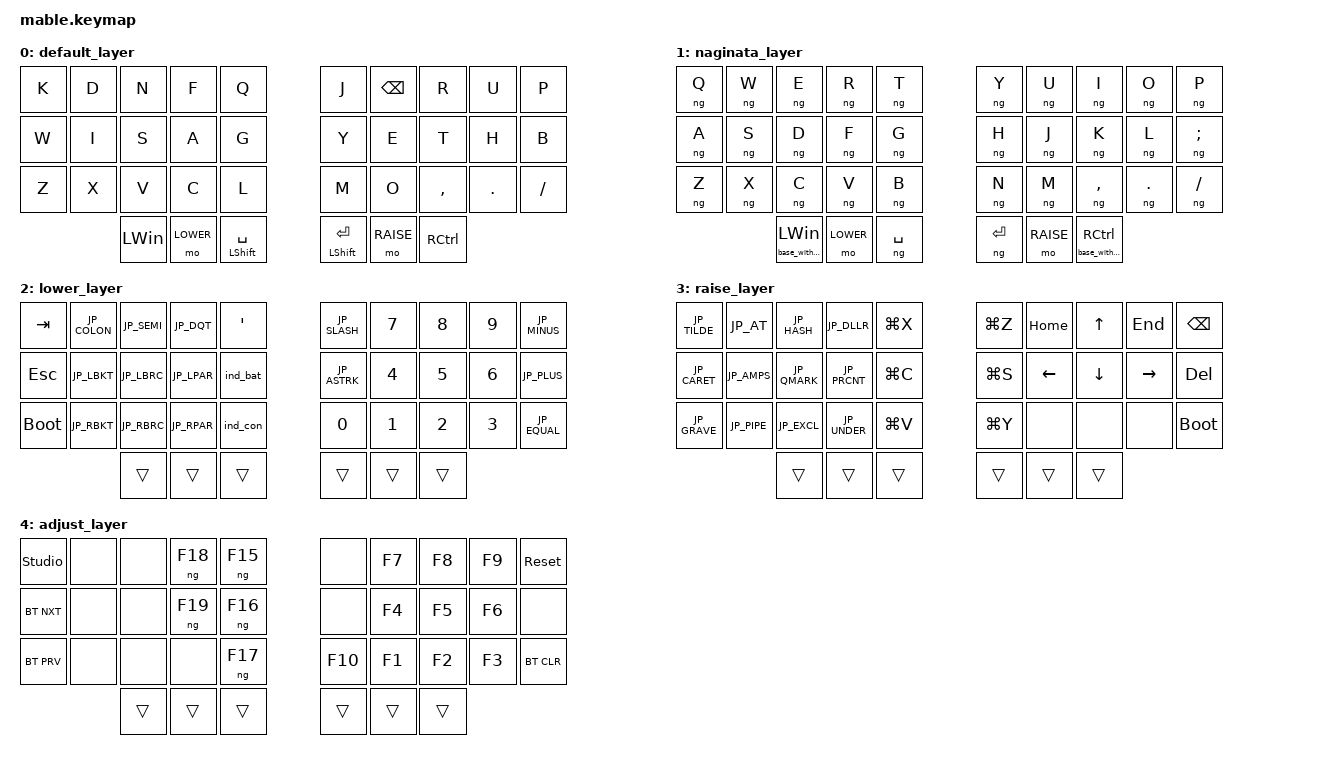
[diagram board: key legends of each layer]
#include <behaviors/rgbled_widget.dtsi>
#include <behaviors/naginata.dtsi>

#define HOST_OS 2
#include "zmk-helpers/helper.h"

#define ZMK_BEHAVIORS_OMIT_KT

#undef ZMK_BEHAVIORS_KEEP_ALL

#define ZMK_BEHAVIORS_KEEP_SK
#define ZMK_BEHAVIORS_KEEP_MT
#define ZMK_BEHAVIORS_KEEP_KT

#include <behaviors.dtsi>
#include <dt-bindings/zmk/keys.h>
#include <dt-bindings/zmk/bt.h>
#include <dt-bindings/zmk/outputs.h>
#include "keycode_japanese.h"

#define CONFIG_ZMK_MACRO_DEFAULT_WAIT_MS 40
#define CONFIG_ZMK_MACRO_DEFAULT_TAP_MS 40

#define DEFAULT  0
#define NAGINATA 1
#define LOWER    2
#define RAISE    3
#define ADJUST   4

/ {

    conditional_layers {
        compatible = "zmk,conditional-layers";
        tri_layer {
            if-layers = <2 3>;
            then-layer = <4>;
        };
    };

    macros {
        ng_on: ng_on {
            compatible = "zmk,behavior-macro";
            #binding-cells = <0>;
            bindings
                = <&macro_tap &kp LANGUAGE_1 &kp INTERNATIONAL_4 &to 1>
                ;
        };
        ng_off: ng_off {
            compatible = "zmk,behavior-macro";
            #binding-cells = <0>;
            bindings
                = <&macro_tap &kp LANGUAGE_2 &kp INTERNATIONAL_5 &to 0>
                ;
        };
        base_with_mod: base_with_mod {
            compatible = "zmk,behavior-macro-one-param";
            wait-ms = <0>;
            tap-ms = <0>;
            #binding-cells = <1>;
            bindings
                = <&macro_press &tog 1 >
                , <&macro_param_1to1>
                , <&macro_press &kp MACRO_PLACEHOLDER>
                , <&macro_pause_for_release>
                , <&macro_param_1to1>
                , <&macro_release &kp MACRO_PLACEHOLDER>
                , <&macro_press &tog 1 >
                ;
        };
    };

    combos {
        compatible = "zmk,combos";
        combo_ng_on {
            timeout-ms = <300>;
            key-positions = <15 16>;
            bindings = <&ng_on>;
            layers = <0>;
        };
        combo_ng_off {
            timeout-ms = <300>;
            key-positions = <13 14>;
            bindings = <&ng_off>;
            layers = <0 1>;
        };
    };

    keymap {
        compatible = "zmk,keymap";

        default_layer {
            bindings = <
            // +----------+----------+----------+----------+----------+----------+----------+----------+----------+----------
                &kp K      &kp D      &kp N      &kp F      &kp Q      &kp J      &kp BSPC   &kp R      &kp U      &kp P
                &kp W      &kp I      &kp S      &kp A      &kp G      &kp Y      &kp E      &kp T      &kp H      &kp B
                &kp Z      &kp X      &kp V      &kp C      &kp L      &kp M      &kp O      &kp COMMA  &kp DOT    &kp SLASH
            //  &kp Q      &kp W      &kp E      &kp R      &kp T      &kp Y      &kp U      &kp I      &kp O      &kp P
            //  &kp A      &kp S      &kp D      &kp F      &kp G      &kp H      &kp J      &kp K      &kp L      &kp SEMI
            //  &kp Z      &kp X      &kp C      &kp V      &kp B      &kp N      &kp M      &kp COMMA  &kp DOT    &kp SLASH
                                &kp LWIN   &mo LOWER  &mt LSHFT SPACE  &mt LSHFT ENTER &mo RAISE  &kp RCTRL
                >;
        };

        naginata_layer {
            bindings = <
            // +----------+----------+----------+----------+----------+----------+----------+----------+----------+----------
                &ng Q      &ng W      &ng E      &ng R      &ng T      &ng Y      &ng U      &ng I      &ng O      &ng P
                &ng A      &ng S      &ng D      &ng F      &ng G      &ng H      &ng J      &ng K      &ng L      &ng SEMI
                &ng Z      &ng X      &ng C      &ng V      &ng B      &ng N      &ng M      &ng COMMA  &ng DOT    &ng SLASH
                           &base_with_mod LWIN   &mo LOWER  &ng SPACE  &ng ENTER  &mo RAISE  &base_with_mod RCTRL
                >;
        };
 
        lower_layer {
            bindings = <
            // +-----------+-----------+-----------+-----------+-----------+-----------+-----------+-----------+-----------+----------
                &kp TAB     &kp JP_COLON  &kp JP_SEMI   &kp JP_DQT    &kp SQT    &kp JP_SLASH  &kp N7     &kp N8     &kp N9     &kp JP_MINUS
                &kp ESC     &kp JP_LBKT   &kp JP_LBRC   &kp JP_LPAR   &ind_bat   &kp JP_ASTRK  &kp N4     &kp N5     &kp N6     &kp JP_PLUS
               &bootloader  &kp JP_RBKT   &kp JP_RBRC   &kp JP_RPAR   &ind_con   &kp N0        &kp N1     &kp N2     &kp N3     &kp JP_EQUAL     
                                          &trans        &trans        &trans     &trans        &trans     &trans
                >;
        };

        raise_layer {
            bindings = <
            // +----------+----------+----------+----------+----------+----------+----------+----------+----------+----------
                &kp JP_TILDE  &kp JP_AT     &kp JP_HASH   &kp JP_DLLR   &kp LG(X)  &kp LG(Z)   &kp HOME   &kp UP     &kp END    &kp BSPC
                &kp JP_CARET  &kp JP_AMPS   &kp JP_QMARK  &kp JP_PRCNT  &kp LG(C)  &kp LG(S)   &kp LEFT   &kp DOWN   &kp RIGHT  &kp DEL
                &kp JP_GRAVE  &kp JP_PIPE   &kp JP_EXCL   &kp JP_UNDER  &kp LG(V)  &kp LG(Y)   &none      &none      &none      &bootloader
                                            &trans        &trans        &trans     &trans      &trans     &trans
                >;
        };

        adjust_layer {
            bindings = <
            // +---------- +----------+----------+----------+----------+----------+----------+----------+----------+----------
             &studio_unlock &none      &none      &ng F18    &ng F15    &none      &kp F7     &kp F8     &kp F9     &sys_reset 
                &bt BT_NXT  &none      &none      &ng F19    &ng F16    &none      &kp F4     &kp F5     &kp F6     &none
                &bt BT_PRV  &none      &none      &none      &ng F17    &kp F10    &kp F1     &kp F2     &kp F3     &bt BT_CLR
                                       &trans     &trans     &trans     &trans     &trans     &trans
                >;
        };

    };
};
